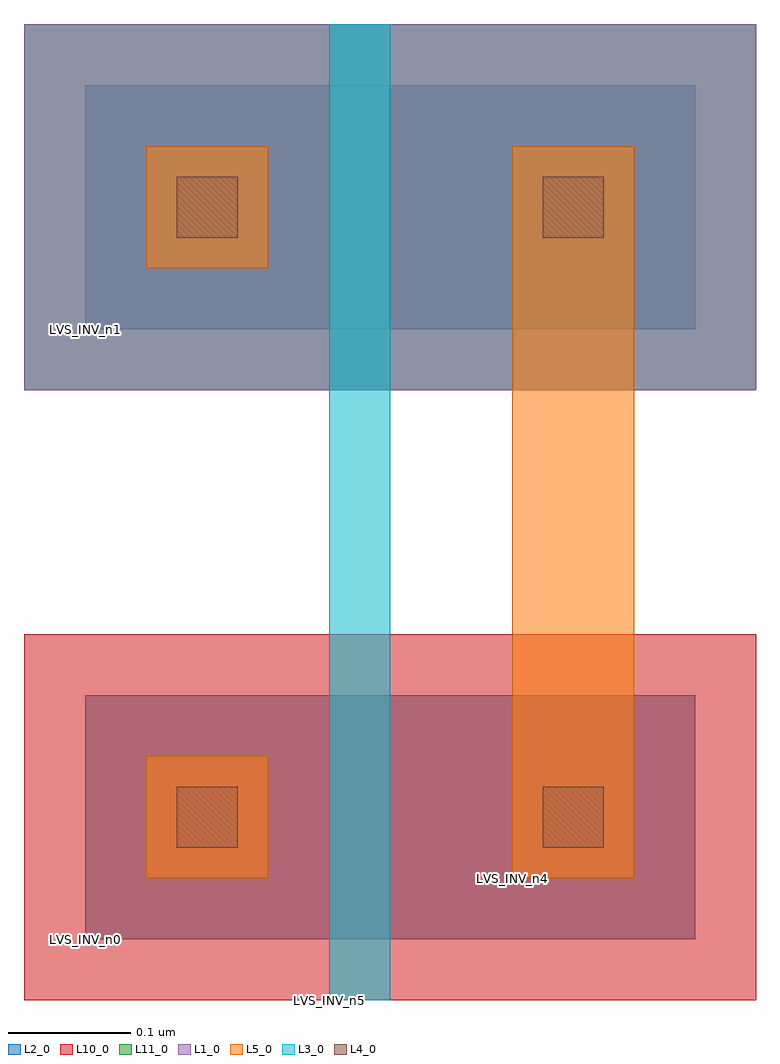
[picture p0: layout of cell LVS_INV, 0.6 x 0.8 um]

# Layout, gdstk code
import gdstk
lib = gdstk.Library(unit=1e-6, precision=1e-09)
def R(c, l, rs):  # rectangles x0, y0, x1, y1
    for r in rs: c.add(gdstk.rectangle(r[:2], r[2:], *l))
L1_0 = (1, 0)
L2_0 = (2, 0)
L3_0 = (3, 0)
L4_0 = (4, 0)
L5_0 = (5, 0)
L10_0 = (10, 0)
L11_0 = (11, 0)

lvs_inv = lib.new_cell('LVS_INV')
R(lvs_inv, L1_0, [(-0.05,0.45,0.55,0.75)])
R(lvs_inv, L2_0, [(0,0,0.5,0.2), (0,0.5,0.5,0.7)])
R(lvs_inv, L3_0, [(0.2,-0.05,0.25,0.75)])
R(lvs_inv, L4_0, [(0.075,0.075,0.125,0.125), (0.375,0.075,0.425,0.125), (0.075,0.575,0.125,0.625), (0.375,0.575,0.425,0.625)])
R(lvs_inv, L5_0, [(0.05,0.05,0.15,0.15), (0.35,0.05,0.45,0.65), (0.05,0.55,0.15,0.65)])
R(lvs_inv, L10_0, [(-0.05,-0.05,0.55,0.25)])
R(lvs_inv, L11_0, [(-0.05,0.45,0.55,0.75)])
lvs_inv.add(gdstk.Label('LVS_INV_n0', (0,0), layer=2, texttype=5))
lvs_inv.add(gdstk.Label('LVS_INV_n1', (0,0.5), layer=2, texttype=5))
lvs_inv.add(gdstk.Label('LVS_INV_n4', (0.35,0.05), layer=5, texttype=5))
lvs_inv.add(gdstk.Label('LVS_INV_n5', (0.2,-0.05), layer=3, texttype=5))

lib.write_gds('LVS_INV.gds')
